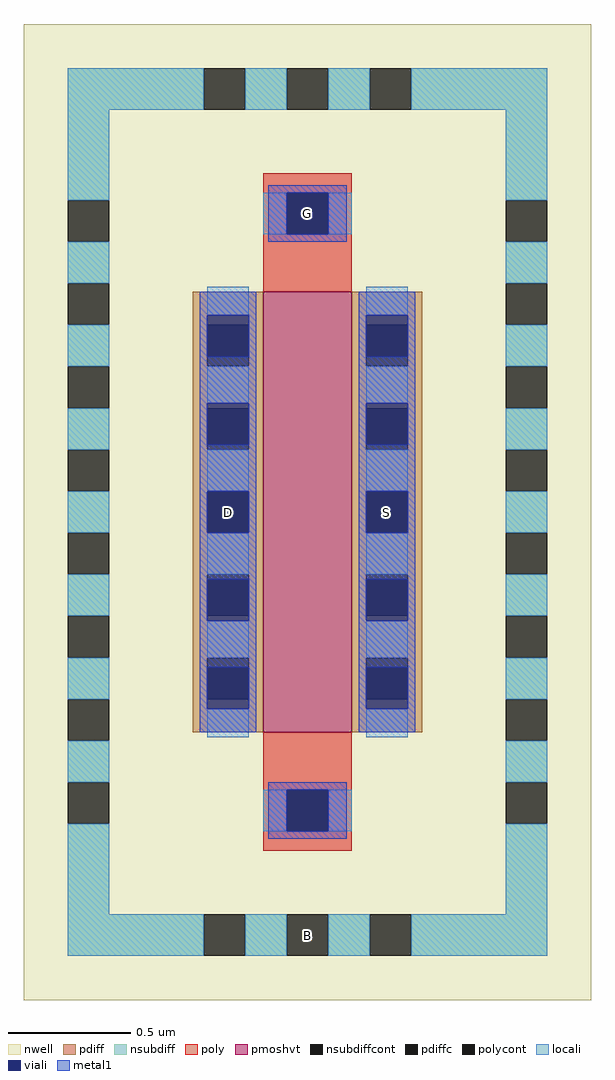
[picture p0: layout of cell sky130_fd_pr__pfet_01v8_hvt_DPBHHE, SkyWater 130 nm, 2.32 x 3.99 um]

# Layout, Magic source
magic
tech sky130A
magscale 1 2
<< nwell >>
rect -232 -399 232 399
<< pmoshvt >>
rect -36 -180 36 180
<< pdiff >>
rect -94 153 -36 180
rect -94 119 -82 153
rect -48 119 -36 153
rect -94 85 -36 119
rect -94 51 -82 85
rect -48 51 -36 85
rect -94 17 -36 51
rect -94 -17 -82 17
rect -48 -17 -36 17
rect -94 -51 -36 -17
rect -94 -85 -82 -51
rect -48 -85 -36 -51
rect -94 -119 -36 -85
rect -94 -153 -82 -119
rect -48 -153 -36 -119
rect -94 -180 -36 -153
rect 36 153 94 180
rect 36 119 48 153
rect 82 119 94 153
rect 36 85 94 119
rect 36 51 48 85
rect 82 51 94 85
rect 36 17 94 51
rect 36 -17 48 17
rect 82 -17 94 17
rect 36 -51 94 -17
rect 36 -85 48 -51
rect 82 -85 94 -51
rect 36 -119 94 -85
rect 36 -153 48 -119
rect 82 -153 94 -119
rect 36 -180 94 -153
<< pdiffc >>
rect -82 119 -48 153
rect -82 51 -48 85
rect -82 -17 -48 17
rect -82 -85 -48 -51
rect -82 -153 -48 -119
rect 48 119 82 153
rect 48 51 82 85
rect 48 -17 82 17
rect 48 -85 82 -51
rect 48 -153 82 -119
<< nsubdiff >>
rect -196 329 -85 363
rect -51 329 -17 363
rect 17 329 51 363
rect 85 329 196 363
rect -196 255 -162 329
rect -196 187 -162 221
rect 162 255 196 329
rect 162 187 196 221
rect -196 119 -162 153
rect -196 51 -162 85
rect -196 -17 -162 17
rect -196 -85 -162 -51
rect -196 -153 -162 -119
rect 162 119 196 153
rect 162 51 196 85
rect 162 -17 196 17
rect 162 -85 196 -51
rect 162 -153 196 -119
rect -196 -221 -162 -187
rect -196 -329 -162 -255
rect 162 -221 196 -187
rect 162 -329 196 -255
rect -196 -363 -85 -329
rect -51 -363 -17 -329
rect 17 -363 51 -329
rect 85 -363 196 -329
<< nsubdiffcont >>
rect -85 329 -51 363
rect -17 329 17 363
rect 51 329 85 363
rect -196 221 -162 255
rect -196 153 -162 187
rect 162 221 196 255
rect -196 85 -162 119
rect -196 17 -162 51
rect -196 -51 -162 -17
rect -196 -119 -162 -85
rect -196 -187 -162 -153
rect 162 153 196 187
rect 162 85 196 119
rect 162 17 196 51
rect 162 -51 196 -17
rect 162 -119 196 -85
rect -196 -255 -162 -221
rect 162 -187 196 -153
rect 162 -255 196 -221
rect -85 -363 -51 -329
rect -17 -363 17 -329
rect 51 -363 85 -329
<< poly >>
rect -36 261 36 277
rect -36 227 -17 261
rect 17 227 36 261
rect -36 180 36 227
rect -36 -227 36 -180
rect -36 -261 -17 -227
rect 17 -261 36 -227
rect -36 -277 36 -261
<< polycont >>
rect -17 227 17 261
rect -17 -261 17 -227
<< locali >>
rect -196 329 -85 363
rect -51 329 -17 363
rect 17 329 51 363
rect 85 329 196 363
rect -196 255 -162 329
rect -36 227 -17 261
rect 17 227 36 261
rect 162 255 196 329
rect -196 187 -162 221
rect 162 187 196 221
rect -196 119 -162 153
rect -196 51 -162 85
rect -196 -17 -162 17
rect -196 -85 -162 -51
rect -196 -153 -162 -119
rect -82 161 -48 184
rect -82 89 -48 119
rect -82 17 -48 51
rect -82 -51 -48 -17
rect -82 -119 -48 -89
rect -82 -184 -48 -161
rect 48 161 82 184
rect 48 89 82 119
rect 48 17 82 51
rect 48 -51 82 -17
rect 48 -119 82 -89
rect 48 -184 82 -161
rect 162 119 196 153
rect 162 51 196 85
rect 162 -17 196 17
rect 162 -85 196 -51
rect 162 -153 196 -119
rect -196 -221 -162 -187
rect 162 -221 196 -187
rect -196 -329 -162 -255
rect -36 -261 -17 -227
rect 17 -261 36 -227
rect 162 -329 196 -255
rect -196 -363 -85 -329
rect -51 -363 -17 -329
rect 17 -363 51 -329
rect 85 -363 196 -329
<< viali >>
rect -17 227 17 261
rect -82 153 -48 161
rect -82 127 -48 153
rect -82 85 -48 89
rect -82 55 -48 85
rect -82 -17 -48 17
rect -82 -85 -48 -55
rect -82 -89 -48 -85
rect -82 -153 -48 -127
rect -82 -161 -48 -153
rect 48 153 82 161
rect 48 127 82 153
rect 48 85 82 89
rect 48 55 82 85
rect 48 -17 82 17
rect 48 -85 82 -55
rect 48 -89 82 -85
rect 48 -153 82 -127
rect 48 -161 82 -153
rect -17 -261 17 -227
<< metal1 >>
rect -32 261 32 267
rect -32 227 -17 261
rect 17 227 32 261
rect -32 221 32 227
rect -88 161 -42 180
rect -88 127 -82 161
rect -48 127 -42 161
rect -88 89 -42 127
rect -88 55 -82 89
rect -48 55 -42 89
rect -88 17 -42 55
rect -88 -17 -82 17
rect -48 -17 -42 17
rect -88 -55 -42 -17
rect -88 -89 -82 -55
rect -48 -89 -42 -55
rect -88 -127 -42 -89
rect -88 -161 -82 -127
rect -48 -161 -42 -127
rect -88 -180 -42 -161
rect 42 161 88 180
rect 42 127 48 161
rect 82 127 88 161
rect 42 89 88 127
rect 42 55 48 89
rect 82 55 88 89
rect 42 17 88 55
rect 42 -17 48 17
rect 82 -17 88 17
rect 42 -55 88 -17
rect 42 -89 48 -55
rect 82 -89 88 -55
rect 42 -127 88 -89
rect 42 -161 48 -127
rect 82 -161 88 -127
rect 42 -180 88 -161
rect -32 -227 32 -221
rect -32 -261 -17 -227
rect 17 -261 32 -227
rect -32 -267 32 -261
<< labels >>
rlabel locali s 0 -346 0 -346 4 B
rlabel locali s -65 0 -65 0 4 D
rlabel locali s 65 0 65 0 4 S
rlabel locali s 0 244 0 244 4 G
<< properties >>
string FIXED_BBOX -179 -346 179 346
<< end >>
